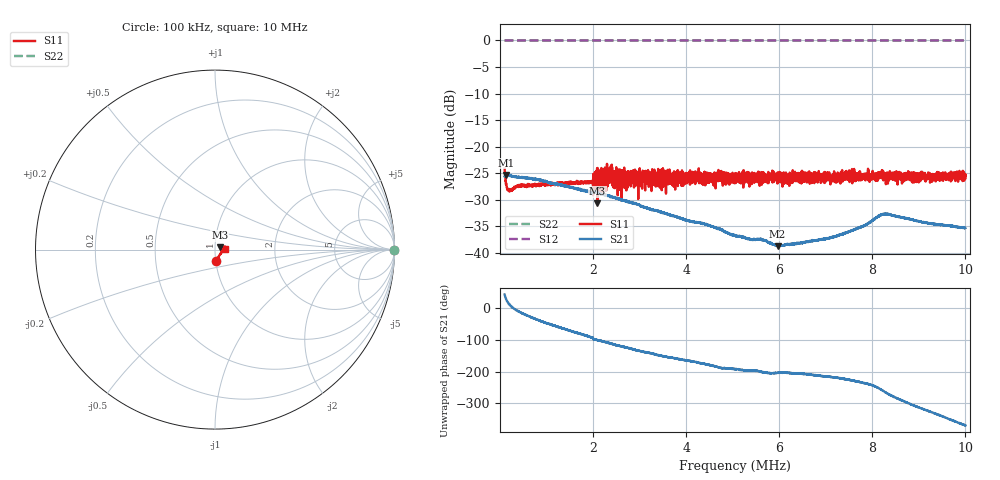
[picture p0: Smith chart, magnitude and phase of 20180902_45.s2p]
! Anritsu VNA Master:  Model: MS2026C/19
! SN:  1815009
! /card0/usr/20180902_45.s2p
! Existing Calibration Information:
! TYPE:  Current Settings,  Active Cal Settings
! TIME:  09/03/2018 12:18:21 AM,  09/02/2018 11:58:48 AM
! INTERNAL TEMP:  50.5 C,  48.8 C
! # POINTS:  4001,  4001
! START FREQ:  100.000 kHz,  100.000 kHz
! STOP FREQ:  10.000 MHz,  10.000 MHz
! SOURCE POWER:  Low,  Low
! IFBW:  500 Hz,  500 Hz
! AVG FACTOR:  5 ,  1
! REF PLANE 1:  0 mm,  0 mm
! REF PLANE 2:  0 mm,  0 mm
! CAL TYPE:  1P2P S11,S21,  1P2P S11,S21
! CAL METHOD:  SOLT,  SOLT
! CAL LINE TYPE:  Coax,  Coax
! DUT PORT 1:  N-Conn(M),  N-Conn(M)
! DUT PORT 2:  N-Conn(M),  N-Conn(M)
! CAL STATUS:  OK: Accuracy High,  --
# GHZ S RI R 50.0
! FREQ.GHZ  S11RE  S11IM  S21RE  S21IM  S12RE  S12IM  S22RE  S22IM
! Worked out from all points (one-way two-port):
!   4001 points, 100 kHz to 10 MHz, reference 50 ohm
!   highest |S21| = -25.34 dB at 134.7 kHz (marker M1); lowest = -38.7 dB at 5.966 MHz (marker M2)
!   lowest |S11| = -30.7 dB at 2.095 MHz (marker M3), VSWR 1.06, Z = 52.7 + j1.28 ohm
!   |S11| at or under -10 dB: start of sweep to end of sweep
!   |S22| runs from 0.0 to 0.0 dB; largest |S21 - S12| = 1
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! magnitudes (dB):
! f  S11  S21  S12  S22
! 100 kHz  -24.1  -25.6  0.0  0.0
! 134.7 kHz  -26.9  -25.3  0.0  0.0
! 171.8 kHz  -28.2  -25.4  0.0  0.0
! 216.3 kHz  -28.2  -25.4  0.0  0.0
! 449 kHz  -27.3  -25.7  0.0  0.0
! 1.751 MHz  -26.6  -28.0  0.0  0.0
! 2.095 MHz  -30.7  -28.5  0.0  0.0
! 2.382 MHz  -25.8  -29.4  0.0  0.0
! 2.573 MHz  -25.8  -29.8  0.0  0.0
! 2.783 MHz  -26.1  -30.4  0.0  0.0
! 3.006 MHz  -24.9  -31.1  0.0  0.0
! 3.107 MHz  -26.7  -31.4  0.0  0.0
! 3.402 MHz  -27.2  -32.1  0.0  0.0
! 5.05 MHz  -25.6  -36.8  0.0  0.0
! 5.642 MHz  -25.3  -37.5  0.0  0.0
! 5.966 MHz  -24.8  -38.7  0.0  0.0
! 6.701 MHz  -26.0  -37.8  0.0  0.0
! 7.389 MHz  -25.1  -36.3  0.0  0.0
! 7.842 MHz  -26.0  -34.8  0.0  0.0
! 8.178 MHz  -25.4  -32.9  0.0  0.0
! 8.352 MHz  -25.5  -32.7  0.0  0.0
! 10 MHz  -25.4  -35.3  0.0  0.0
